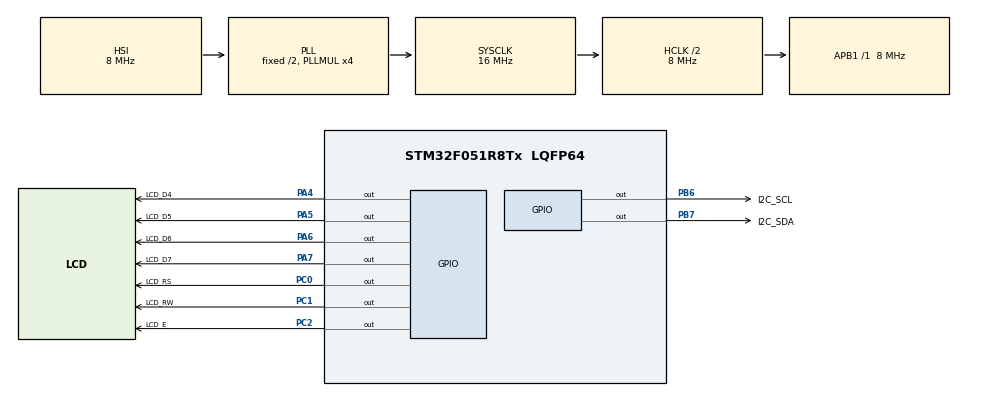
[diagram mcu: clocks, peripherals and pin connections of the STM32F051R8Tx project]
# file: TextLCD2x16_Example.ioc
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Mcu.Family=STM32F0
Mcu.Name=STM32F051R8Tx
Mcu.Package=LQFP64
PA13.Mode=Serial_Wire
PA13.Signal=SYS_SWDIO
PA14.Mode=Serial_Wire
PA14.Signal=SYS_SWCLK
PA4.GPIO_Label=LCD_D4
PA4.GPIO_Speed=GPIO_SPEED_FREQ_HIGH
PA4.PinState=GPIO_PIN_RESET
PA4.Signal=GPIO_Output
PA5.GPIO_Label=LCD_D5
PA5.GPIO_Speed=GPIO_SPEED_FREQ_HIGH
PA5.PinState=GPIO_PIN_RESET
PA5.Signal=GPIO_Output
PA6.GPIO_Label=LCD_D6
PA6.GPIO_ModeDefaultOutputPP=GPIO_MODE_OUTPUT_PP
PA6.GPIO_PuPd=GPIO_NOPULL
PA6.GPIO_Speed=GPIO_SPEED_FREQ_HIGH
PA6.PinState=GPIO_PIN_RESET
PA6.Signal=GPIO_Output
PA7.GPIO_Label=LCD_D7
PA7.GPIO_ModeDefaultOutputPP=GPIO_MODE_OUTPUT_PP
PA7.GPIO_PuPd=GPIO_NOPULL
PA7.GPIO_Speed=GPIO_SPEED_FREQ_HIGH
PA7.PinState=GPIO_PIN_RESET
PA7.Signal=GPIO_Output
PB6.GPIO_Label=I2C_SCL
PB6.GPIO_ModeDefaultOutputPP=GPIO_MODE_OUTPUT_OD
PB6.GPIO_PuPd=GPIO_NOPULL
PB6.GPIO_Speed=GPIO_SPEED_FREQ_LOW
PB6.PinState=GPIO_PIN_SET
PB6.Signal=GPIO_Output
PB7.GPIO_Label=I2C_SDA
PB7.GPIO_ModeDefaultOutputPP=GPIO_MODE_OUTPUT_OD
PB7.GPIO_PuPd=GPIO_NOPULL
PB7.GPIO_Speed=GPIO_SPEED_FREQ_LOW
PB7.PinState=GPIO_PIN_SET
PB7.Signal=GPIO_Output
PC0.GPIO_Label=LCD_RS
PC0.GPIO_Speed=GPIO_SPEED_FREQ_HIGH
PC0.PinState=GPIO_PIN_RESET
PC0.Signal=GPIO_Output
PC1.GPIO_Label=LCD_RW
PC1.GPIO_Speed=GPIO_SPEED_FREQ_HIGH
PC1.PinState=GPIO_PIN_RESET
PC1.Signal=GPIO_Output
PC2.GPIO_Label=LCD_E
PC2.GPIO_Speed=GPIO_SPEED_FREQ_HIGH
PC2.PinState=GPIO_PIN_RESET
PC2.Signal=GPIO_Output
ProjectManager.HeapSize=0x200
ProjectManager.StackSize=0x400
ProjectManager.TargetToolchain=MDK-ARM V5.32
RCC.AHBCLKDivider=RCC_SYSCLK_DIV2
RCC.AHBFreq_Value=8000000
RCC.APB1Freq_Value=8000000
RCC.APB1TimFreq_Value=8000000
RCC.HCLKFreq_Value=8000000
RCC.PLLMUL=RCC_PLL_MUL4
RCC.SYSCLKFreq_VALUE=16000000
RCC.SYSCLKSource=RCC_SYSCLKSOURCE_PLLCLK
board=custom

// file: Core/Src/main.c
/* USER CODE BEGIN Header */
/**
  ******************************************************************************
  * @file           : main.c
  * @brief          : Main program body
  ******************************************************************************
  * @attention
  *
  * Copyright (c) 2023 STMicroelectronics.
  * All rights reserved.
  *
  * This software is licensed under terms that can be found in the LICENSE file
  * in the root directory of this software component.
  * If no LICENSE file comes with this software, it is provided AS-IS.
  *
  ******************************************************************************
  */
/* USER CODE END Header */
#include "main.h"

/* USER CODE BEGIN Includes */
#include "myLCD.h"
#include "DS1307_CONTROL.h"
/* USER CODE END Includes */

/* USER CODE BEGIN PV */
char* name = "Nguyen Duy Quy";
uint8_t time[10];
/* USER CODE END PV */

void SystemClock_Config(void);
static void MX_GPIO_Init(void);
/* USER CODE BEGIN PFP */
void portA_Direction(uint8_t dir)//0 = input, 1 = output
{
	if(dir==0)
	{
		GPIOA->MODER=0X00;
		GPIOA->PUPDR=0X00;
	}else if(dir ==1)
	{
		GPIOA->MODER=0X55555555;
		GPIOA->PUPDR=0X00;
		GPIOA->OTYPER = 0x00;
		GPIOA->OSPEEDR = 0x33333333;
	}
}
uint8_t toASCII(uint8_t val)
{
	switch(val)
	{
		case 0: val= 0x30; break;
		case 1: val= 0x31; break;
		case 2: val= 0x32; break;
		case 3: val= 0x33; break;
		case 4: val= 0x34; break;
		case 5: val= 0x35; break;
		case 6: val= 0x36; break;
		case 7: val= 0x37; break;
		case 8: val= 0x38; break;
		case 9: val= 0x39; break;
	}
	return val;
}
void time_display(uint8_t *time)
{
	char hnm[5] ;//hour and min
	hnm[0]=(char)toASCII(time[1]/10);
	hnm[1]=(char)toASCII(time[1]%10);
	hnm[2]=':';
	hnm[3]=(char)toASCII(time[0]/10);
	hnm[4]=(char)toASCII(time[0]%10);
	move_LCD(1,1);
	putChar_LCD(' ');
	putChar_LCD(' ');
	print_LCD(hnm,5);
}
void date_display(uint8_t val)
{
	switch(val)
	{
		case 1: print_LCD("Mon",3); break;
		case 2: print_LCD("Tue",3); break;
		case 3: print_LCD("Wed",3); break;
		case 4: print_LCD("Thu",3); break;
		case 5: print_LCD("Fri",3); break;
		case 6: print_LCD("Sar",3); break;
		case 7: print_LCD("Sun",3); break;
	}
}
void cal_display(uint8_t *time)
{
	char hnm[10] ;//hour and min
	hnm[0]=(char)toASCII(time[3]/10);
	hnm[1]=(char)toASCII(time[3]%10);
	hnm[2]='/';
	hnm[3]=(char)toASCII(time[4]/10);
	hnm[4]=(char)toASCII(time[4]%10);
	hnm[5]='/';
	hnm[6]=(char)toASCII(2);
	hnm[7]=(char)toASCII(0);
	hnm[8]=(char)toASCII(time[5]/10);
	hnm[9]=(char)toASCII(time[5]%10);
	move_LCD(2,1);
	date_display(time[2]);
	putChar_LCD(' ');
	putChar_LCD(' ');
	print_LCD(hnm,10);
}
/* USER CODE END PFP */

int main(void)
{

  /* MCU Configuration--------------------------------------------------------*/

  /* Reset of all peripherals, Initializes the Flash interface and the Systick. */
  HAL_Init();

  /* Configure the system clock */
  SystemClock_Config();

  /* Initialize all configured peripherals */
  MX_GPIO_Init();
  /* USER CODE BEGIN 2 */
	//DS1307_setTime(11,0,2,2,10,23);
	init_LCD();
	clr_LCD();
	putChar_LCD(' ');
	putChar_LCD(' ');
	putChar_LCD('D');
	print_LCD("emo of the",10);
	move_LCD(2,1);
	print_LCD("2x16 LCD Display",16);
	HAL_Delay(500);
	clr_LCD();
  /* USER CODE END 2 */

  /* Infinite loop */
  /* USER CODE BEGIN WHILE */
  while (1)
		{
		DS1307_getTime(time);
		time_display(time);
		cal_display(time);
    /* USER CODE END WHILE */

  }
}

void SystemClock_Config(void)
{
  RCC_OscInitTypeDef RCC_OscInitStruct = {0};
  RCC_ClkInitTypeDef RCC_ClkInitStruct = {0};

  /** Initializes the RCC Oscillators according to the specified parameters
  * in the RCC_OscInitTypeDef structure.
  */
  RCC_OscInitStruct.OscillatorType = RCC_OSCILLATORTYPE_HSI;
  RCC_OscInitStruct.HSIState = RCC_HSI_ON;
  RCC_OscInitStruct.HSICalibrationValue = RCC_HSICALIBRATION_DEFAULT;
  RCC_OscInitStruct.PLL.PLLState = RCC_PLL_ON;
  RCC_OscInitStruct.PLL.PLLSource = RCC_PLLSOURCE_HSI;
  RCC_OscInitStruct.PLL.PLLMUL = RCC_PLL_MUL4;
  RCC_OscInitStruct.PLL.PREDIV = RCC_PREDIV_DIV1;
  if (HAL_RCC_OscConfig(&RCC_OscInitStruct) != HAL_OK)
  {
    Error_Handler();
  }

  /** Initializes the CPU, AHB and APB buses clocks
  */
  RCC_ClkInitStruct.ClockType = RCC_CLOCKTYPE_HCLK|RCC_CLOCKTYPE_SYSCLK
                              |RCC_CLOCKTYPE_PCLK1;
  RCC_ClkInitStruct.SYSCLKSource = RCC_SYSCLKSOURCE_PLLCLK;
  RCC_ClkInitStruct.AHBCLKDivider = RCC_SYSCLK_DIV2;
  RCC_ClkInitStruct.APB1CLKDivider = RCC_HCLK_DIV1;

  if (HAL_RCC_ClockConfig(&RCC_ClkInitStruct, FLASH_LATENCY_0) != HAL_OK)
  {
    Error_Handler();
  }
}

static void MX_GPIO_Init(void)
{
  GPIO_InitTypeDef GPIO_InitStruct = {0};

  /* GPIO Ports Clock Enable */
  __HAL_RCC_GPIOC_CLK_ENABLE();
  __HAL_RCC_GPIOA_CLK_ENABLE();
  __HAL_RCC_GPIOB_CLK_ENABLE();

  /*Configure GPIO pin Output Level */
  HAL_GPIO_WritePin(GPIOC, LCD_RS_Pin|LCD_RW_Pin|LCD_E_Pin, GPIO_PIN_RESET);

  /*Configure GPIO pin Output Level */
  HAL_GPIO_WritePin(GPIOA, LCD_D4_Pin|LCD_D5_Pin|LCD_D6_Pin|LCD_D7_Pin, GPIO_PIN_RESET);

  /*Configure GPIO pin Output Level */
  HAL_GPIO_WritePin(GPIOB, I2C_SCL_Pin|I2C_SDA_Pin, GPIO_PIN_SET);

  /*Configure GPIO pins : LCD_RS_Pin LCD_RW_Pin LCD_E_Pin */
  GPIO_InitStruct.Pin = LCD_RS_Pin|LCD_RW_Pin|LCD_E_Pin;
  GPIO_InitStruct.Mode = GPIO_MODE_OUTPUT_PP;
  GPIO_InitStruct.Pull = GPIO_NOPULL;
  GPIO_InitStruct.Speed = GPIO_SPEED_FREQ_HIGH;
  HAL_GPIO_Init(GPIOC, &GPIO_InitStruct);

  /*Configure GPIO pins : LCD_D4_Pin LCD_D5_Pin LCD_D6_Pin LCD_D7_Pin */
  GPIO_InitStruct.Pin = LCD_D4_Pin|LCD_D5_Pin|LCD_D6_Pin|LCD_D7_Pin;
  GPIO_InitStruct.Mode = GPIO_MODE_OUTPUT_PP;
  GPIO_InitStruct.Pull = GPIO_NOPULL;
  GPIO_InitStruct.Speed = GPIO_SPEED_FREQ_HIGH;
  HAL_GPIO_Init(GPIOA, &GPIO_InitStruct);

  /*Configure GPIO pins : I2C_SCL_Pin I2C_SDA_Pin */
  GPIO_InitStruct.Pin = I2C_SCL_Pin|I2C_SDA_Pin;
  GPIO_InitStruct.Mode = GPIO_MODE_OUTPUT_OD;
  GPIO_InitStruct.Pull = GPIO_NOPULL;
  GPIO_InitStruct.Speed = GPIO_SPEED_FREQ_LOW;
  HAL_GPIO_Init(GPIOB, &GPIO_InitStruct);

}

void Error_Handler(void)
{
  __disable_irq();
  while (1)
  {
  }
}
